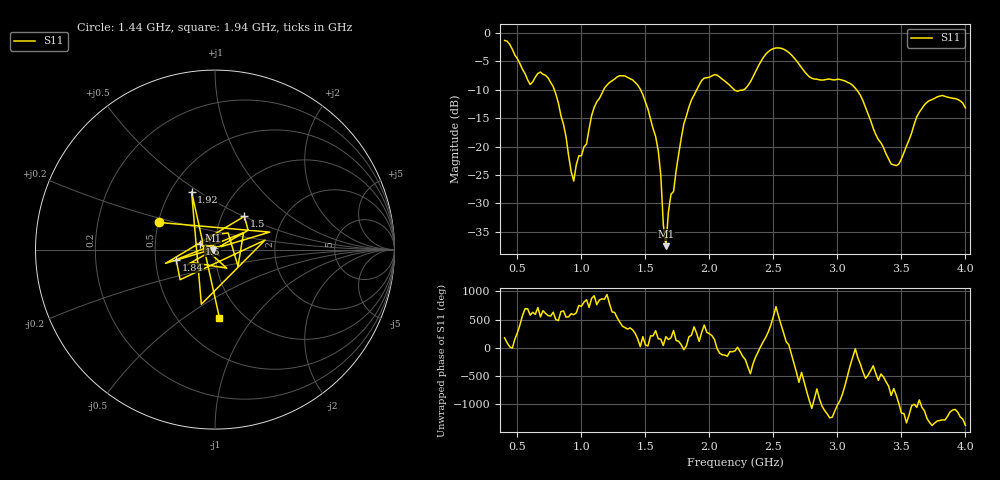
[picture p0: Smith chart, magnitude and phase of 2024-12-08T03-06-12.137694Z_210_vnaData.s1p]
!Created with skrf (http://scikit-rf.org).
# Hz S RI R 50.0
!freq ReS11 ImS11
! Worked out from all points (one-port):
!   181 points, 400 MHz to 4 GHz, reference 50 ohm
!   lowest |S11| = -37.5 dB at 1.66 GHz (marker M1), VSWR 1.03, Z = 48.7 - j0.345 ohm
!   |S11| at or under -10 dB: 788.4 MHz to 1.174 GHz (385.6 MHz wide, 39.3 % of centre); 1.462 GHz to 1.902 GHz (439.4 MHz wide, 26.1 % of centre); 3.15 GHz to end of sweep (the widest 3 of 4)
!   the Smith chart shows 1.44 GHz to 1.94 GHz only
!   S11 on the Smith chart (normalised r, x): 1.44 GHz: 0.50, +0.17; 1.5 GHz: 1.28, +0.51; 1.6 GHz: 0.84, +0.06; 1.84 GHz: 0.64, -0.08; 1.92 GHz: 0.64, +0.47; 1.94 GHz: 0.78, -0.70
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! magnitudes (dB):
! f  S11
! 400 MHz  -1.3
! 600 MHz  -9.1
! 740 MHz  -7.9
! 860 MHz  -16.1
! 940 MHz  -26.1
! 1.1 GHz  -13.1
! 1.3 GHz  -7.5
! 1.44 GHz  -9.2
! 1.5 GHz  -12.1
! 1.6 GHz  -20.7
! 1.62 GHz  -24.9
! 1.64 GHz  -33.7
! 1.66 GHz  -37.5
! 1.68 GHz  -31.5
! 1.76 GHz  -21.3
! 1.84 GHz  -13.0
! 1.92 GHz  -9.2
! 1.94 GHz  -8.4
! 2.2 GHz  -10.1
! 2.48 GHz  -3.0
! 2.66 GHz  -4.3
! 2.8 GHz  -8.0
! 3.1 GHz  -8.9
! 3.42 GHz  -23.1
! 3.48 GHz  -23.1
! 3.56 GHz  -18.8
! 3.72 GHz  -11.9
! 4 GHz  -13.2
